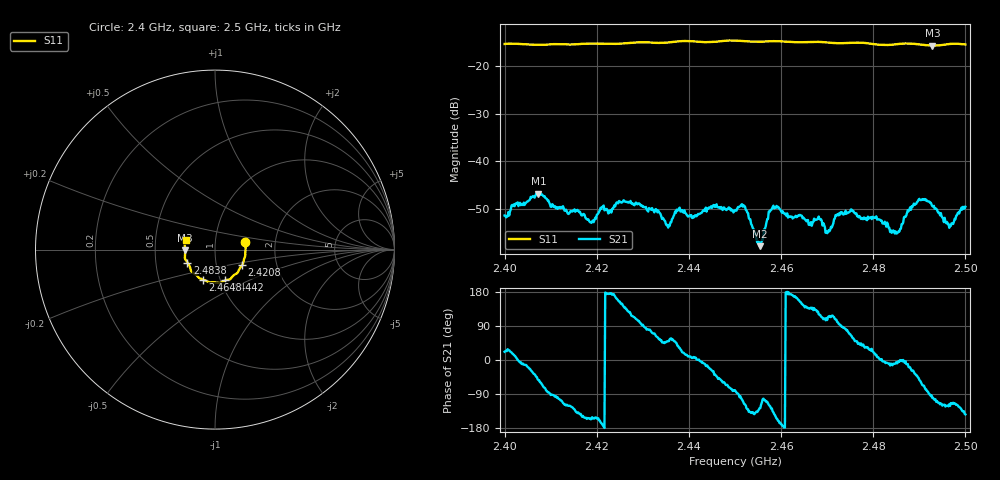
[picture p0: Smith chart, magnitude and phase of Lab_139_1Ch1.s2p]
# Hz S RI R 50
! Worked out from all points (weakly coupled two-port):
!   601 points, 2.4 GHz to 2.5 GHz, reference 50 ohm
!   highest |S21| = -46.80 dB at 2.4073 GHz (marker M1); lowest = -57.8 dB at 2.4553 GHz (marker M2)
!   lowest |S11| = -15.6 dB at 2.4928 GHz (marker M3), VSWR 1.40, Z = 35.8 - j0.359 ohm
!   |S11| at or under -10 dB: start of sweep to end of sweep
!   S12 and S22 are empty: the file has one direction only
!   S11 on the Smith chart (normalised r, x): 2.4 GHz: 1.40, +0.12; 2.4208 GHz: 1.33, -0.24; 2.4442 GHz: 1.05, -0.37; 2.4648 GHz: 0.83, -0.29; 2.4838 GHz: 0.73, -0.11; 2.5 GHz: 0.72, +0.08
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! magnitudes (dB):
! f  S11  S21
! 2.4 GHz  -15.3  -51.4
! 2.4073 GHz  -15.4  -46.8
! 2.4167 GHz  -15.2  -51.3
! 2.4208 GHz  -15.2  -49.8
! 2.4333 GHz  -15.0  -50.3
! 2.4355 GHz  -14.9  -53.9
! 2.4375 GHz  -14.7  -50.4
! 2.4442 GHz  -14.9  -50.0
! 2.45 GHz  -14.5  -50.2
! 2.452 GHz  -14.6  -49.5
! 2.4553 GHz  -14.8  -57.8
! 2.4585 GHz  -14.7  -49.9
! 2.4648 GHz  -14.9  -51.8
! 2.4667 GHz  -14.8  -53.5
! 2.4702 GHz  -15.0  -54.9
! 2.4753 GHz  -15.0  -50.2
! 2.4833 GHz  -15.5  -54.0
! 2.4838 GHz  -15.4  -54.5
! 2.49 GHz  -15.3  -47.9
! 2.4928 GHz  -15.6  -49.4
! 2.4967 GHz  -15.2  -53.4
! 2.5 GHz  -15.4  -49.5
